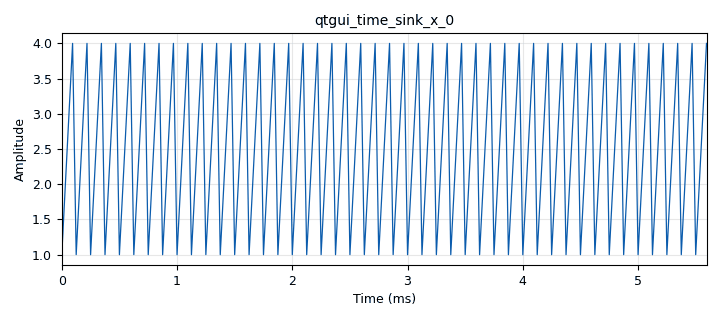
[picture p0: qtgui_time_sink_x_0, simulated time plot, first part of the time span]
options:
  parameters:
    author: p
    generate_options: qt_gui
    id: week1_lecture4
    output_language: python
    title: Not titled yet
  states: {}

blocks:
- name: samp_rate
  id: variable
  parameters:
    value: '32000'
  states: {}
- name: blocks_throttle2_0
  id: blocks_throttle2
  parameters:
    samples_per_second: samp_rate
    type: float
  states: {}
- name: blocks_vector_source_x_0
  id: blocks_vector_source_x
  parameters:
    repeat: 'True'
    type: float
    vector: (1,2,3,4)
  states: {}
- name: qtgui_time_sink_x_0
  id: qtgui_time_sink_x
  parameters:
    autoscale: 'True'
    grid: 'True'
    size: '1024'
    srate: samp_rate
    type: float
  states: {}

connections:
- [blocks_throttle2_0, '0', qtgui_time_sink_x_0, '0']
- [blocks_vector_source_x_0, '0', blocks_throttle2_0, '0']

metadata:
  file_format: 1
  grc_version: 3.10.7.0
